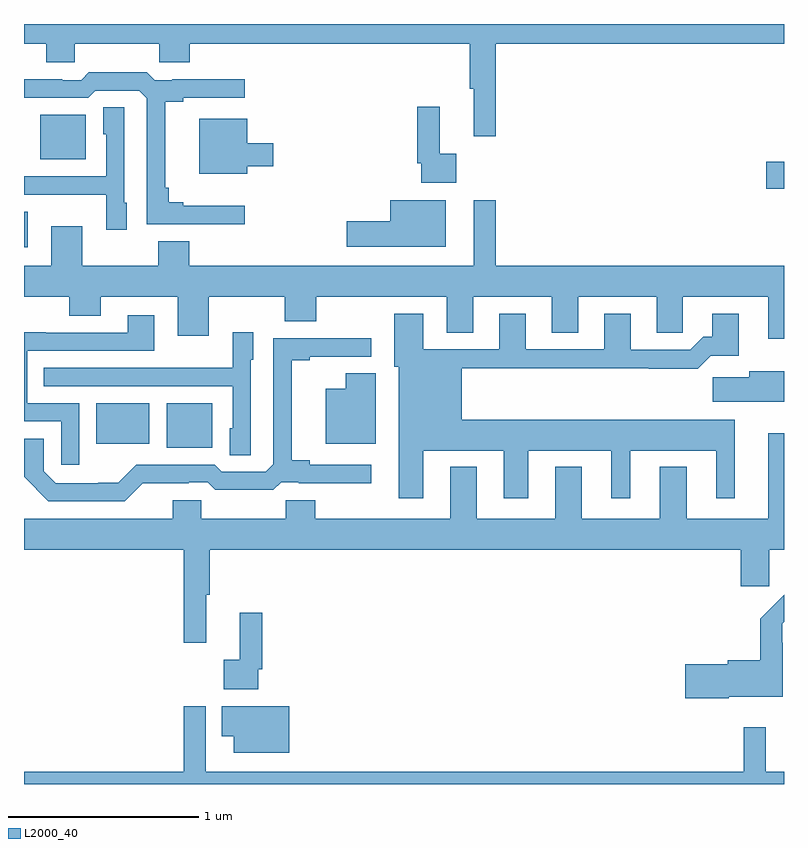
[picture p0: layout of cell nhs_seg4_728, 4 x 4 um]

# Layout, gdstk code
import gdstk
lib = gdstk.Library(unit=1e-6, precision=1e-09)
def R(c, l, rs):  # rectangles x0, y0, x1, y1
    for r in rs: c.add(gdstk.rectangle(r[:2], r[2:], *l))
def P(c, l, *ps):  # polygons
    for p in ps: c.add(gdstk.Polygon(p, *l))
L2000_40 = (2000, 40)

nhs_seg4_728 = lib.new_cell('nhs_seg4_728')
R(nhs_seg4_728, L2000_40, [(147.752,818.669,147.991,818.905), (147.38,818.69,147.658,818.905), (147,819.726,147.019,819.912), (150.906,820.033,151,820.175), (147.086,820.187,147.325,820.423)])
P(nhs_seg4_728, L2000_40, [(149.483,820.796),(151,820.796),(151,820.9),(147,820.9),(147,820.796),(147.116,820.796),(147.116,820.698),(147.267,820.698),(147.267,820.796),(147.712,820.796),(147.712,820.698),(147.872,820.698),(147.872,820.796),(149.347,820.796),(149.347,820.56),(149.366,820.56),(149.366,820.308),(149.483,820.308)],
  [(148.162,819.943),(147.838,819.943),(147.838,819.962),(147.761,819.962),(147.761,820.039),(147.743,820.039),(147.743,820.49),(147.838,820.49),(147.838,820.512),(148.162,820.512),(148.162,820.61),(147.781,820.61),(147.781,820.605),(147.687,820.605),(147.647,820.645),(147.34,820.645),(147.3,820.605),(147.2,820.605),(147.2,820.61),(147,820.61),(147,820.512),(147.339,820.512),(147.375,820.548),(147.606,820.548),(147.645,820.509),(147.645,819.846),(148.162,819.846)],
  [(149.275,820.217),(149.189,820.217),(149.189,820.465),(149.071,820.465),(149.071,820.168),(149.091,820.168),(149.091,820.064),(149.275,820.064)],
  [(147.541,819.96),(147.528,819.96),(147.528,820.463),(147.416,820.463),(147.416,820.32),(147.432,820.32),(147.432,820.098),(147,820.098),(147,820.002),(147.115,820.002),(147.115,820.001),(147.432,820.001),(147.432,819.816),(147.541,819.816)],
  [(148.174,820.151),(148.312,820.151),(148.312,820.273),(148.174,820.273),(148.174,820.402),(147.923,820.402),(147.923,820.112),(148.174,820.112)],
  [(151,819.628),(149.483,819.628),(149.483,819.973),(149.366,819.973),(149.366,819.628),(147.871,819.628),(147.871,819.757),(147.707,819.757),(147.707,819.628),(147.307,819.628),(147.307,819.835),(147.143,819.835),(147.143,819.628),(147,819.628),(147,819.464),(147.239,819.464),(147.239,819.365),(147.403,819.365),(147.403,819.464),(147.809,819.464),(147.809,819.258),(147.973,819.258),(147.973,819.464),(148.373,819.464),(148.373,819.336),(148.537,819.336),(148.537,819.464),(149.225,819.464),(149.225,819.274),(149.365,819.274),(149.365,819.464),(149.777,819.464),(149.777,819.274),(149.917,819.274),(149.917,819.464),(150.329,819.464),(150.329,819.274),(150.468,819.274),(150.468,819.464),(150.917,819.464),(150.917,819.243),(151,819.243)],
  [(149.221,819.973),(148.928,819.973),(148.928,819.863),(148.698,819.863),(148.698,819.728),(149.221,819.728)],
  [(149.101,818.654),(149.525,818.654),(149.525,818.403),(149.653,818.403),(149.653,818.654),(150.092,818.654),(150.092,818.403),(150.19,818.403),(150.19,818.654),(150.644,818.654),(150.644,818.403),(150.742,818.403),(150.742,818.818),(149.305,818.818),(149.305,819.088),(150.289,819.088),(150.289,819.086),(150.545,819.086),(150.614,819.155),(150.763,819.155),(150.763,819.376),(150.623,819.376),(150.623,819.253),(150.574,819.253),(150.507,819.186),(150.193,819.186),(150.193,819.376),(150.053,819.376),(150.053,819.189),(149.641,819.189),(149.641,819.376),(149.501,819.376),(149.501,819.189),(149.101,819.189),(149.101,819.376),(148.949,819.376),(148.949,819.096),(148.973,819.096),(148.973,818.403),(149.101,818.403)],
  [(147.291,818.904),(147.018,818.904),(147.018,819.18),(147.685,819.18),(147.685,819.367),(147.545,819.367),(147.545,819.276),(147.115,819.276),(147.115,819.278),(147,819.278),(147,818.808),(147.195,818.808),(147.195,818.58),(147.291,818.58)],
  [(148.194,819.132),(148.207,819.132),(148.207,819.277),(148.098,819.277),(148.098,819.091),(147.781,819.091),(147.781,819.09),(147.103,819.09),(147.103,818.994),(148.098,818.994),(148.098,818.772),(148.082,818.772),(148.082,818.629),(148.194,818.629)],
  [(147.626,818.483),(147.866,818.483),(147.866,818.487),(147.966,818.487),(148.006,818.448),(148.313,818.448),(148.353,818.487),(148.447,818.487),(148.447,818.483),(148.828,818.483),(148.828,818.58),(148.504,818.58),(148.504,818.603),(148.409,818.603),(148.409,819.13),(148.504,819.13),(148.504,819.15),(148.828,819.15),(148.828,819.246),(148.311,819.246),(148.311,818.583),(148.272,818.544),(148.041,818.544),(148.005,818.58),(147.591,818.58),(147.497,818.486),(147.392,818.486),(147.392,818.484),(147.168,818.484),(147.105,818.547),(147.105,818.718),(147,818.718),(147,818.517),(147.128,818.388),(147.531,818.388)],
  [(151,819.073),(150.818,819.073),(150.818,819.041),(150.624,819.041),(150.624,818.912),(151,818.912)],
  [(148.852,819.061),(148.694,819.061),(148.694,818.98),(148.589,818.98),(148.589,818.69),(148.852,818.69)],
  [(147.959,817.896),(147.977,817.896),(147.977,818.132),(150.773,818.132),(150.773,817.941),(150.923,817.941),(150.923,818.132),(151,818.132),(151,818.746),(150.917,818.746),(150.917,818.296),(150.487,818.296),(150.487,818.569),(150.347,818.569),(150.347,818.296),(149.935,818.296),(149.935,818.569),(149.795,818.569),(149.795,818.296),(149.383,818.296),(149.383,818.569),(149.243,818.569),(149.243,818.296),(148.533,818.296),(148.533,818.394),(148.378,818.394),(148.378,818.296),(147.933,818.296),(147.933,818.394),(147.782,818.394),(147.782,818.296),(147,818.296),(147,818.132),(147.841,818.132),(147.841,817.644),(147.959,817.644)],
  [(150.708,817.358),(150.993,817.358),(150.993,817.643),(150.99,817.643),(150.99,817.743),(151,817.753),(151,817.897),(150.875,817.771),(150.875,817.552),(150.704,817.552),(150.704,817.529),(150.48,817.529),(150.48,817.351),(150.708,817.351)],
  [(148.233,817.504),(148.253,817.504),(148.253,817.801),(148.136,817.801),(148.136,817.553),(148.05,817.553),(148.05,817.4),(148.233,817.4)],
  [(151,816.964),(150.905,816.964),(150.905,817.198),(150.787,817.198),(150.787,816.964),(147.957,816.964),(147.957,817.309),(147.841,817.309),(147.841,816.964),(147,816.964),(147,816.9),(151,816.9)],
  [(148.396,817.309),(148.042,817.309),(148.042,817.151),(148.103,817.151),(148.103,817.064),(148.396,817.064)])

lib.write_gds('nhs_seg4_728.gds')
